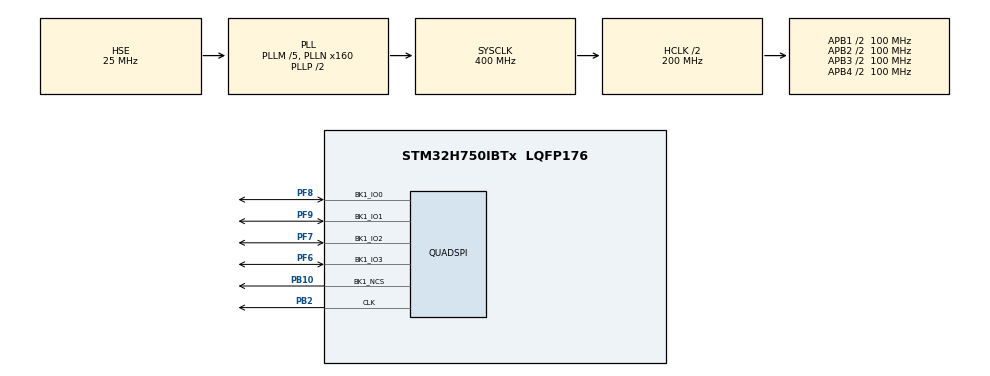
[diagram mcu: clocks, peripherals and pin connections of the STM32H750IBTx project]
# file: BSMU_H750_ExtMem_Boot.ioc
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CORTEX_M7.CPU_DCache=Enabled
CORTEX_M7.CPU_ICache=Enabled
CORTEX_M7.default_mode_Activation=0
Mcu.Family=STM32H7
Mcu.Name=STM32H750IBTx
Mcu.Package=LQFP176
NVIC.PriorityGroup=NVIC_PRIORITYGROUP_4
PA13\ (JTMS/SWDIO).Mode=Serial_Wire
PA13\ (JTMS/SWDIO).Signal=DEBUG_JTMS-SWDIO
PA14\ (JTCK/SWCLK).Mode=Serial_Wire
PA14\ (JTCK/SWCLK).Signal=DEBUG_JTCK-SWCLK
PB10.GPIO_PuPd=GPIO_PULLUP
PB10.GPIO_Speed=GPIO_SPEED_FREQ_VERY_HIGH
PB10.Mode=Single Bank 1
PB10.Signal=QUADSPI_BK1_NCS
PB2.GPIO_PuPd=GPIO_PULLUP
PB2.GPIO_Speed=GPIO_SPEED_FREQ_VERY_HIGH
PB2.Mode=Single Bank 1
PB2.Signal=QUADSPI_CLK
PF6.GPIO_Speed=GPIO_SPEED_FREQ_VERY_HIGH
PF6.Mode=Single Bank 1
PF6.PinAttribute=Free
PF6.Signal=QUADSPI_BK1_IO3
PF7.GPIO_Speed=GPIO_SPEED_FREQ_VERY_HIGH
PF7.Mode=Single Bank 1
PF7.PinAttribute=Free
PF7.Signal=QUADSPI_BK1_IO2
PF8.GPIO_Speed=GPIO_SPEED_FREQ_VERY_HIGH
PF8.Mode=Single Bank 1
PF8.PinAttribute=Free
PF8.Signal=QUADSPI_BK1_IO0
PF9.GPIO_Speed=GPIO_SPEED_FREQ_VERY_HIGH
PF9.Mode=Single Bank 1
PF9.PinAttribute=Free
PF9.Signal=QUADSPI_BK1_IO1
PH0-OSC_IN\ (PH0).Mode=HSE-External-Oscillator
PH0-OSC_IN\ (PH0).PinAttribute=Free
PH0-OSC_IN\ (PH0).Signal=RCC_OSC_IN
PH1-OSC_OUT\ (PH1).Mode=HSE-External-Oscillator
PH1-OSC_OUT\ (PH1).PinAttribute=Free
PH1-OSC_OUT\ (PH1).Signal=RCC_OSC_OUT
ProjectManager.HeapSize=0x200
ProjectManager.StackSize=0x400
ProjectManager.TargetToolchain=MDK-ARM V5.32
QUADSPI.ChipSelectHighTime=QSPI_CS_HIGH_TIME_5_CYCLE
QUADSPI.ClockPrescaler=1
QUADSPI.FifoThreshold=4
QUADSPI.FlashSize=22
QUADSPI.SampleShifting=QSPI_SAMPLE_SHIFTING_HALFCYCLE
RCC.ADCFreq_Value=360000000
RCC.APB1Freq_Value=100000000
RCC.APB2Freq_Value=100000000
RCC.APB3Freq_Value=100000000
RCC.APB4Freq_Value=100000000
RCC.CortexFreq_Value=400000000
RCC.D1PPRE=RCC_APB3_DIV2
RCC.D2PPRE1=RCC_APB1_DIV2
RCC.D2PPRE2=RCC_APB2_DIV2
RCC.D3PPRE=RCC_APB4_DIV2
RCC.DIVM1=5
RCC.DIVM2=5
RCC.DIVM3=1
RCC.DIVN1=160
RCC.DIVN2=144
RCC.DIVN3=6
RCC.DIVQ1=8
RCC.DIVR3=3
RCC.HCLKFreq_Value=200000000
RCC.HPRE=RCC_HCLK_DIV2
RCC.HSE_VALUE=25000000
RCC.PLL1_VCI_Range-AdvancedSettings=RCC_PLL1VCIRANGE_0
RCC.PLL2FRACN=0
RCC.PLL3FRACN=0
RCC.PLLFRACN=0
RCC.PLLSourceVirtual=RCC_PLLSOURCE_HSE
RCC.SYSCLKFreq_VALUE=400000000
RCC.SYSCLKSource=RCC_SYSCLKSOURCE_PLLCLK
RCC.USBFreq_Value=100000000
board=custom

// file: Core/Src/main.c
/* USER CODE BEGIN Header */
/**
  ******************************************************************************
  * @file           : main.c
  * @brief          : Main program body
  ******************************************************************************
  * @attention
  *
  * Copyright (c) 2022 STMicroelectronics.
  * All rights reserved.
  *
  * This software is licensed under terms that can be found in the LICENSE file
  * in the root directory of this software component.
  * If no LICENSE file comes with this software, it is provided AS-IS.
  *
  ******************************************************************************
  */
/* USER CODE END Header */
#include "main.h"
#include "quadspi.h"
#include "gpio.h"

/* USER CODE BEGIN Includes */
#include "w25q64.h"
/* USER CODE END Includes */

/* USER CODE BEGIN PTD */
typedef  void (*pFunction)(void);
/* USER CODE END PTD */

/* USER CODE BEGIN PD */
#define APPLICATION_ADDRESS ((uint32_t)0x90000000)
/* USER CODE END PD */

/* USER CODE BEGIN PV */
pFunction JumpToApplication;
/* USER CODE END PV */

void SystemClock_Config(void);

int main(void)
{

  /* Enable I-Cache---------------------------------------------------------*/
  SCB_EnableICache();

  /* Enable D-Cache---------------------------------------------------------*/
  SCB_EnableDCache();

  /* MCU Configuration--------------------------------------------------------*/

  /* Reset of all peripherals, Initializes the Flash interface and the Systick. */
  HAL_Init();

  /* Configure the system clock */
  SystemClock_Config();

  /* Initialize all configured peripherals */
  MX_GPIO_Init();
  MX_QUADSPI_Init();
  /* USER CODE BEGIN 2 */
	SCB_DisableICache();
	SCB_DisableDCache();

	HAL_SuspendTick();    //关闭systick中断

	__disable_irq() ;     //关闭总中断
	//清空所有中断标志位
	for (uint8_t i = 0; i < 8; i++)
	{
		NVIC->ICER[i]=0xFFFFFFFF;
		NVIC->ICPR[i]=0xFFFFFFFF;
	}

	/* APPLICATION_ADDRESS地址为APP程序存放的地址，+4是因为向量表中复位向量
	* 的位置排在第二，程序跳转后是先执行复位
	*/
	JumpToApplication = (pFunction) (*(__IO uint32_t*) (APPLICATION_ADDRESS + 4));
	/* Initialize user application's Stack Pointer */
	/*
	* 设置栈顶指针,当前使用的堆栈指针由PSP改回MSP后在设置MSP比较好些，跳转到app后，无论主程序还是中断服务程序都是使用MSP，也就不会冲突了。
	*/
	__set_PSP(*(__IO uint32_t*) APPLICATION_ADDRESS);
		__set_CONTROL(0);
	__set_MSP(*(__IO uint32_t*) APPLICATION_ADDRESS);

//	//中断向量表重映射(跳转之后首先执行)
//	SCB->VTOR = APPLICATION_ADDRESS;
	JumpToApplication();
  /* USER CODE END 2 */

  /* Infinite loop */
  while (1)
  {

  }
}

void SystemClock_Config(void)
{
  RCC_OscInitTypeDef RCC_OscInitStruct = {0};
  RCC_ClkInitTypeDef RCC_ClkInitStruct = {0};

  /** Supply configuration update enable
  */
  HAL_PWREx_ConfigSupply(PWR_LDO_SUPPLY);

  /** Configure the main internal regulator output voltage
  */
  __HAL_PWR_VOLTAGESCALING_CONFIG(PWR_REGULATOR_VOLTAGE_SCALE1);

  while(!__HAL_PWR_GET_FLAG(PWR_FLAG_VOSRDY)) {}

  /** Initializes the RCC Oscillators according to the specified parameters
  * in the RCC_OscInitTypeDef structure.
  */
  RCC_OscInitStruct.OscillatorType = RCC_OSCILLATORTYPE_HSE;
  RCC_OscInitStruct.HSEState = RCC_HSE_ON;
  RCC_OscInitStruct.PLL.PLLState = RCC_PLL_ON;
  RCC_OscInitStruct.PLL.PLLSource = RCC_PLLSOURCE_HSE;
  RCC_OscInitStruct.PLL.PLLM = 5;
  RCC_OscInitStruct.PLL.PLLN = 160;
  RCC_OscInitStruct.PLL.PLLP = 2;
  RCC_OscInitStruct.PLL.PLLQ = 8;
  RCC_OscInitStruct.PLL.PLLR = 2;
  RCC_OscInitStruct.PLL.PLLRGE = RCC_PLL1VCIRANGE_2;
  RCC_OscInitStruct.PLL.PLLVCOSEL = RCC_PLL1VCOWIDE;
  RCC_OscInitStruct.PLL.PLLFRACN = 0;
  if (HAL_RCC_OscConfig(&RCC_OscInitStruct) != HAL_OK)
  {
    Error_Handler();
  }

  /** Initializes the CPU, AHB and APB buses clocks
  */
  RCC_ClkInitStruct.ClockType = RCC_CLOCKTYPE_HCLK|RCC_CLOCKTYPE_SYSCLK
                              |RCC_CLOCKTYPE_PCLK1|RCC_CLOCKTYPE_PCLK2
                              |RCC_CLOCKTYPE_D3PCLK1|RCC_CLOCKTYPE_D1PCLK1;
  RCC_ClkInitStruct.SYSCLKSource = RCC_SYSCLKSOURCE_PLLCLK;
  RCC_ClkInitStruct.SYSCLKDivider = RCC_SYSCLK_DIV1;
  RCC_ClkInitStruct.AHBCLKDivider = RCC_HCLK_DIV2;
  RCC_ClkInitStruct.APB3CLKDivider = RCC_APB3_DIV2;
  RCC_ClkInitStruct.APB1CLKDivider = RCC_APB1_DIV2;
  RCC_ClkInitStruct.APB2CLKDivider = RCC_APB2_DIV2;
  RCC_ClkInitStruct.APB4CLKDivider = RCC_APB4_DIV2;

  if (HAL_RCC_ClockConfig(&RCC_ClkInitStruct, FLASH_LATENCY_2) != HAL_OK)
  {
    Error_Handler();
  }
}

void Error_Handler(void)
{
  __disable_irq();
  while (1)
  {
  }
}
